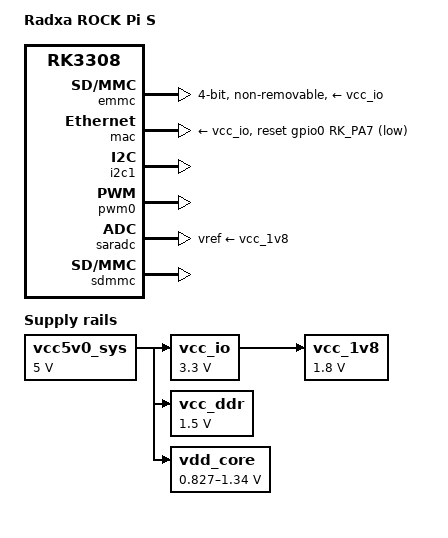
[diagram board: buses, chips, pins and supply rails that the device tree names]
// SPDX-License-Identifier: (GPL-2.0+ OR MIT)
/*
 * Copyright (c) 2022 Angelo Compagnucci <angelo@amarulasolutions.com>
 */

/dts-v1/;
#include "rk3308.dtsi"

/ {
	model = "Radxa ROCK Pi S";
	compatible = "radxa,rockpis", "rockchip,rk3308";

	aliases {
		mmc0 = &emmc;
		mmc1 = &sdmmc;
	};

	chosen {
		stdout-path = "serial0:1500000n8";
	};

	vcc_1v8: vcc-1v8 {
		compatible = "regulator-fixed";
		regulator-name = "vcc_1v8";
		regulator-always-on;
		regulator-boot-on;
		regulator-min-microvolt = <1800000>;
		regulator-max-microvolt = <1800000>;
		vin-supply = <&vcc_io>;
	};

	vcc_io: vcc-io {
		compatible = "regulator-fixed";
		regulator-name = "vcc_io";
		regulator-always-on;
		regulator-boot-on;
		regulator-min-microvolt = <3300000>;
		regulator-max-microvolt = <3300000>;
		vin-supply = <&vcc5v0_sys>;
	};

	vcc_ddr: vcc-ddr {
		compatible = "regulator-fixed";
		regulator-name = "vcc_ddr";
		regulator-always-on;
		regulator-boot-on;
		regulator-min-microvolt = <1500000>;
		regulator-max-microvolt = <1500000>;
		vin-supply = <&vcc5v0_sys>;
	};

	vcc5v0_sys: vcc5v0-sys {
		compatible = "regulator-fixed";
		regulator-name = "vcc5v0_sys";
		regulator-always-on;
		regulator-boot-on;
		regulator-min-microvolt = <5000000>;
		regulator-max-microvolt = <5000000>;
	};

	vdd_core: vdd-core {
		compatible = "pwm-regulator";
		pwms = <&pwm0 0 5000 1>;
		pwm-supply = <&vcc5v0_sys>;
		regulator-name = "vdd_core";
		regulator-min-microvolt = <827000>;
		regulator-max-microvolt = <1340000>;
		regulator-init-microvolt = <1015000>;
		regulator-settling-time-up-us = <250>;
		regulator-always-on;
		regulator-boot-on;
	};

};

&cpu0 {
	cpu-supply = <&vdd_core>;
};

&emmc {
	bus-width = <4>;
	cap-mmc-highspeed;
	mmc-hs200-1_8v;
	non-removable;
	vmmc-supply = <&vcc_io>;
	status = "okay";
};

&mac {
	clock_in_out = "output";
	phy-supply = <&vcc_io>;
	snps,reset-gpio = <&gpio0 RK_PA7 GPIO_ACTIVE_LOW>;
	snps,reset-active-low;
	snps,reset-delays-us = <0 50000 50000>;
	status = "okay";
};

&i2c1 {
	status = "okay";
};

&pwm0 {
	status = "okay";
	pinctrl-0 = <&pwm0_pin_pull_down>;
};

&saradc {
	vref-supply = <&vcc_1v8>;
	status = "okay";
};

&sdmmc {
	cap-sd-highspeed;
	status = "okay";
};
